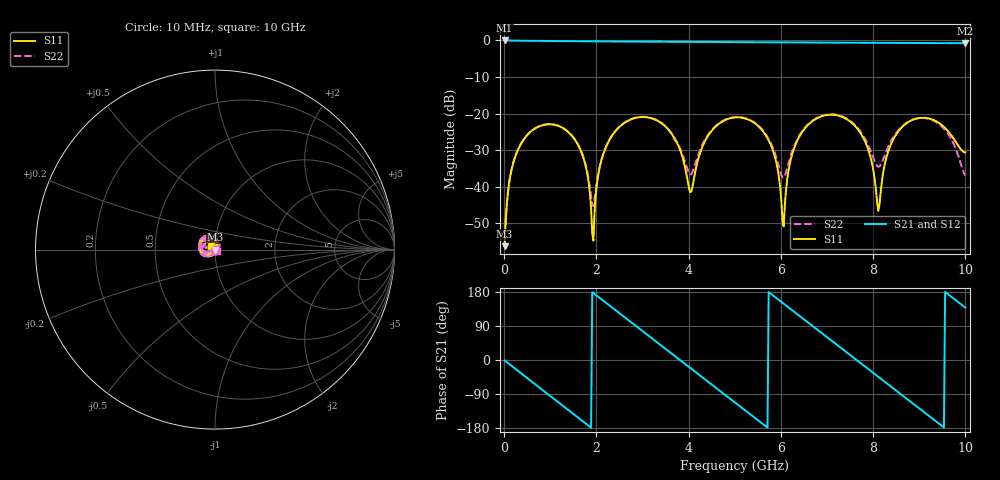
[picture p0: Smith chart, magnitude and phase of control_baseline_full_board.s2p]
! Cutout equivalence validation - 38 mm 50 ohm symmetric stripline
! Case: Control: full board with stitching vias at Y +/-0.8 mm (baseline)
! Solver: Ansys HFSS 3D Layout 2026 R1, broadband adaptive 1-5 GHz,
!  Delta S 0.02, interpolating sweep 10 MHz - 10 GHz
# GHz S MA R 50.000000
! Terminal data exported
! Port[1] = U1.PAD1.SIG
! Port[2] = U2.PAD1.SIG
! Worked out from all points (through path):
!   401 points, 10 MHz to 10 GHz, reference 50 ohm
!   highest |S21| = -0.01 dB at 10 MHz (marker M1); lowest = -0.8 dB at 10 GHz (marker M2)
!   group delay of S21, straight-line fit = 261 ps
!   lowest |S11| = -56.2 dB at 10 MHz (marker M3), VSWR 1.00, Z = 50.1 - j0.085 ohm
!   |S11| at or under -10 dB: start of sweep to end of sweep
!   |S22| runs from -56.2 to -20.2 dB; largest |S21 - S12| = 6.6e-14
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0.01  0.00155 -33.2  0.9986 -1.0  0.9986 -1.0  0.001551 -33.1
0.185  0.01987 -98.2  0.9943 -17.8  0.9943 -17.8  0.01995 -97.2
0.535  0.05371 -137.7  0.9878 -51.1  0.9878 -51.1  0.05399 -134.8
1.085  0.07046 167.0  0.9801 -103.1  0.9801 -103.1  0.07098 173.4
1.685  0.02856 106.5  0.9762 -159.6  0.9762 -159.6  0.02929 124.4
1.935  0.001843 -47.8  0.9744 176.7  0.9744 176.7  0.005459 -167.6
2.085  0.02007 -106.0  0.9729 162.5  0.9729 162.5  0.02065 -117.9
2.36  0.05227 -135.1  0.9694 136.6  0.9694 136.6  0.05259 -133.6
2.86  0.08785 175.5  0.9627 89.5  0.9627 89.5  0.08833 -175.5
3.36  0.07769 125.7  0.9593 42.6  0.9593 42.6  0.07844 143.0
4.035  0.00842 -16.9  0.9568 -21.0  0.9568 -21.0  0.01479 159.2
4.41  0.04857 -140.5  0.9533 -56.4  0.9533 -56.4  0.05046 -158.8
5.01  0.08875 156.9  0.9462 -112.7  0.9462 -112.7  0.08981 157.6
5.71  0.04631 87.8  0.9442 -178.4  0.9442 -178.4  0.04809 105.8
6.06  0.002891 -59.3  0.9428 148.6  0.9428 148.6  0.01332 155.0
6.285  0.0334 -139.5  0.9407 127.3  0.9407 127.3  0.03594 -162.5
6.685  0.07917 -179.9  0.9356 89.7  0.9356 89.7  0.0804 174.7
7.635  0.06485 89.0  0.9304 0.7  0.9304 0.7  0.06712 101.1
8.11  0.004705 -32.1  0.9292 -44.1  0.9292 -44.1  0.0188 129.6
8.335  0.03164 -142.7  0.9274 -65.3  0.9274 -65.3  0.03606 170.6
9.285  0.08309 131.5  0.9187 -154.5  0.9187 -154.5  0.08136 102.5
10  0.02955 139.6  0.9166 138.2  0.9166 138.2  0.01446 -41.9
